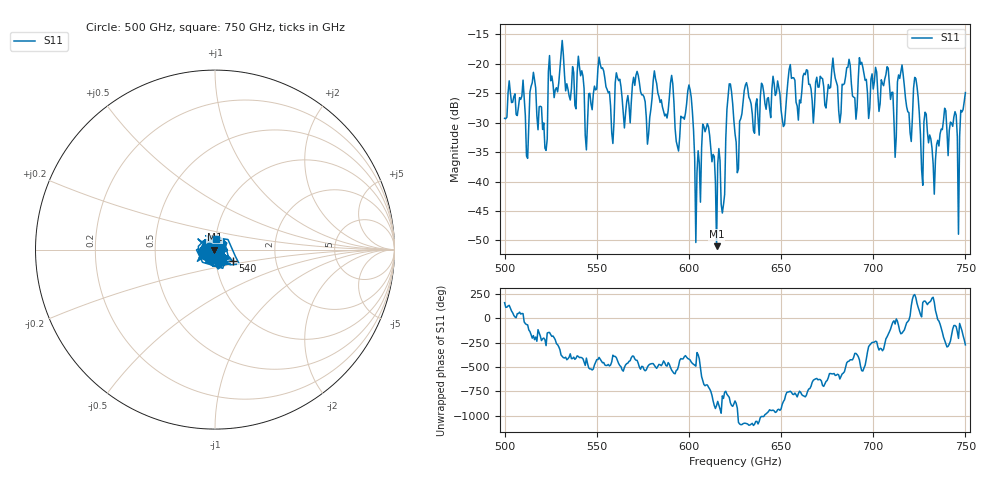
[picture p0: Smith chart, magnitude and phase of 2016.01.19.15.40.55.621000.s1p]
!Created with skrf (http://scikit-rf.org).
# GHz S RI R 50.0
!freq ReS11 ImS11
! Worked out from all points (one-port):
!   401 points, 500 GHz to 750 GHz, reference 50 ohm
!   lowest |S11| = -51.0 dB at 615 GHz (marker M1), VSWR 1.01, Z = 49.7 - j0.0163 ohm
!   |S11| at or under -10 dB: start of sweep to end of sweep
!   S11 on the Smith chart (normalised r, x): 500 GHz: 0.94, +0.02; 540 GHz: 1.21, -0.15; 750 GHz: 1.00, +0.11
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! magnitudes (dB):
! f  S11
! 500 GHz  -29.3
! 512.5 GHz  -36.1
! 515.6 GHz  -21.4
! 521.9 GHz  -34.3
! 525 GHz  -22.9
! 531.2 GHz  -16.0
! 540 GHz  -18.7
! 545 GHz  -29.7
! 551.9 GHz  -20.1
! 558.1 GHz  -31.7
! 562.5 GHz  -22.6
! 578.1 GHz  -32.0
! 590.6 GHz  -22.0
! 593.8 GHz  -34.0
! 600 GHz  -23.6
! 605 GHz  -34.8
! 608.8 GHz  -31.5
! 615 GHz  -51.0
! 618.8 GHz  -43.9
! 621.9 GHz  -23.4
! 625 GHz  -31.8
! 656.2 GHz  -22.3
! 687.5 GHz  -20.2
! 718.8 GHz  -28.1
! 723.1 GHz  -22.5
! 733.1 GHz  -42.1
! 746.9 GHz  -32.3
! 750 GHz  -24.9
